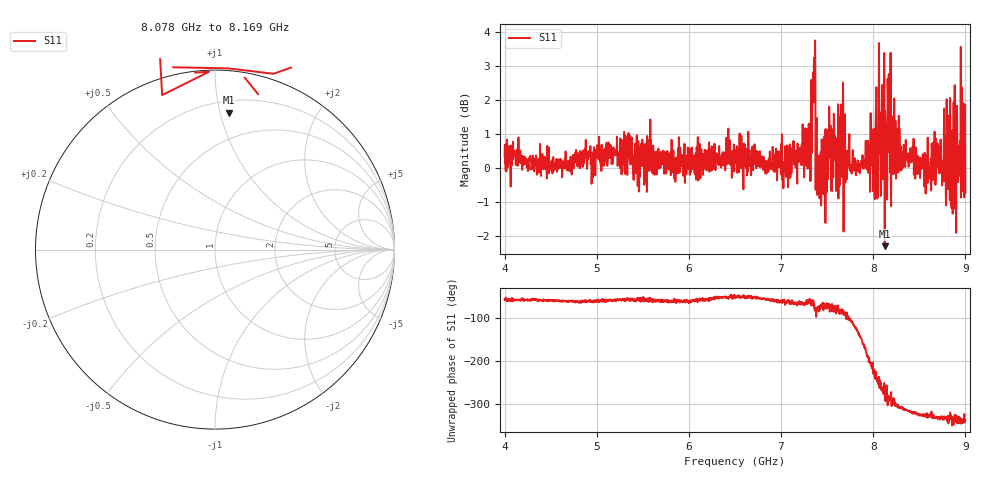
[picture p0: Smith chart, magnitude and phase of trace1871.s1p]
! Created with skrf 1.8.0 (http://scikit-rf.org).
# Hz S RI R 50.0
!freq ReS11 ImS11
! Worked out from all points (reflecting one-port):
!   1601 points, 4 GHz to 9 GHz, reference 50 ohm
!   lowest |S11| = -2.3 dB at 8.125 GHz (marker M1), VSWR 7.60, Z = 14.3 + j53.3 ohm
!   phase of S11 starts at -57 deg and turns -281 deg over the sweep
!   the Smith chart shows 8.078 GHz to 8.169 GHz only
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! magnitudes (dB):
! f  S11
! 4 GHz  0.3
! 4.625 GHz  -0.3
! 5.25 GHz  0.1
! 5.875 GHz  -0.2
! 6.5 GHz  0.3
! 7.125 GHz  0.4
! 7.297 GHz  0.7
! 7.347 GHz  2.0
! 7.362 GHz  3.1
! 7.4 GHz  -0.2
! 7.416 GHz  -0.9
! 7.509 GHz  -0.3
! 7.609 GHz  0.4
! 7.65 GHz  1.9
! 7.75 GHz  -0.1
! 8 GHz  -0.7
! 8.047 GHz  0.3
! 8.066 GHz  1.3
! 8.088 GHz  -0.1
! 8.125 GHz  -2.3
! 8.181 GHz  1.1
! 8.216 GHz  0.8
! 8.375 GHz  0.4
! 8.606 GHz  0.0
! 8.819 GHz  0.6
! 8.875 GHz  0.4
! 8.972 GHz  0.5
! 9 GHz  -0.7
